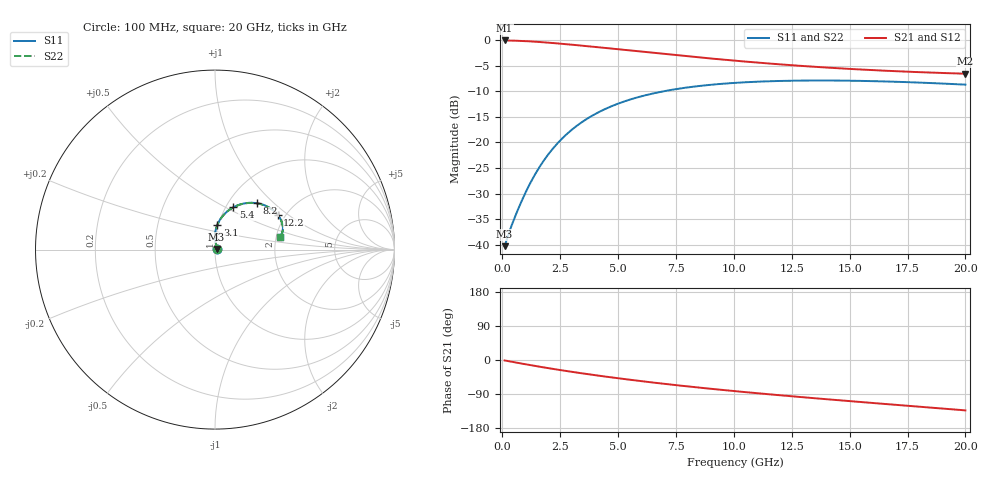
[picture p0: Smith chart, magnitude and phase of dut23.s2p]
! Touchstone file exported from HFSS 2024.1.0
!  File:  C:/UserFiles/LocalFiles/RDL_TSV_Batchsim/temp_RDL_TSV_23_1779400265.aedt
!  Generated:  06:06:32 AM May 22, 2026
!  Design:  RDL_TSV
!  Project:  temp_RDL_TSV_23_1779400265
!  Setup:  Setup1
!  Solution:  Sweep
! Variables:
!  dtsv = 5.74um
!  hbump = 3um
!  htsv = 51.97um
!  ldown = 146.14um
!  lrdl = 387.91um
!  p = 40
!  p1 = 57.11um
!  rhole = 10um
!  subl = 1990.06um
!  t = 450um
!  tdown = 4.27um
!  trdl = 3.66um
!  viad = 10um
!  wdown = 23.73um
!  wrdl = 25.45um
!  xbump = 18um
# GHz S MA R 50.000000
! Terminal data exported
! Port[1] = TM1_1_T1
! Port[2] = TM1_4_T1
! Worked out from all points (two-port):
!   200 points, 100 MHz to 20 GHz, reference 50 ohm
!   highest |S21| = -0.08 dB at 100 MHz (marker M1); lowest = -6.6 dB at 20 GHz (marker M2)
!   |S21| within 3 dB of the highest: start of sweep to 7.811 GHz
!   lowest |S11| = -40.2 dB at 100 MHz (marker M3), VSWR 1.02, Z = 50.9 + j0.348 ohm
!   |S11| at or under -10 dB: start of sweep to 6.971 GHz
!   |S22| runs from -40.2 to -7.9 dB; largest |S21 - S12| = 1e-14
!   S11 on the Smith chart (normalised r, x): 100 MHz: 1.02, +0.01; 3.1 GHz: 0.99, +0.28; 5.4 GHz: 1.08, +0.55; 8.2 GHz: 1.35, +0.79; 12.2 GHz: 1.82, +0.84; 20 GHz: 2.09, +0.34
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0.1  0.009728 20.5  0.9907 -1.2  0.9907 -1.2  0.009728 20.5
! Gamma 0 0 0 0
! Port Impedance 50 0 50 0
0.4  0.01543 53.1  0.9875 -4.6  0.9875 -4.6  0.01543 53.0
0.8  0.02573 74.1  0.9805 -9.0  0.9805 -9.0  0.02573 74.1
1.1  0.03596 82.6  0.9732 -12.3  0.9732 -12.3  0.03595 82.6
1.5  0.05266 88.2  0.9609 -16.5  0.9609 -16.5  0.05263 88.1
1.8  0.06705 89.6  0.9502 -19.6  0.9502 -19.6  0.06701 89.6
2.2  0.08803 89.5  0.9346 -23.6  0.9346 -23.6  0.08796 89.4
2.6  0.1103 87.8  0.918 -27.5  0.918 -27.5  0.1102 87.8
3.1  0.1388 84.6  0.8964 -32.1  0.8964 -32.1  0.1386 84.6
3.5  0.1614 81.6  0.8789 -35.7  0.8789 -35.7  0.1613 81.6
3.9  0.1835 78.4  0.8613 -39.1  0.8613 -39.1  0.1833 78.4
4.4  0.2099 74.4  0.8393 -43.3  0.8393 -43.3  0.2097 74.3
5.4  0.2575 66.5  0.7963 -51.3  0.7963 -51.3  0.2571 66.4
6.1  0.2861 61.2  0.7672 -56.5  0.7672 -56.5  0.2857 61.2
6.8  0.3108 56.4  0.7393 -61.5  0.7393 -61.5  0.3104 56.3
8.2  0.3494 47.6  0.6876 -70.9  0.6876 -70.9  0.3489 47.6
10.1  0.3825 37.8  0.6274 -82.5  0.6274 -82.5  0.382 37.7
12.2  0.3997 29.0  0.5743 -94.2  0.5743 -94.2  0.3991 29.0
13.4  0.4028 24.9  0.5497 -100.4  0.5497 -100.4  0.4021 24.8
15  0.401 20.2  0.5226 -108.5  0.5226 -108.5  0.4003 20.1
16.7  0.3934 16.1  0.4998 -116.9  0.4998 -116.9  0.3927 16.1
20  0.3671 11.0  0.4693 -132.9  0.4693 -132.9  0.3664 10.9
